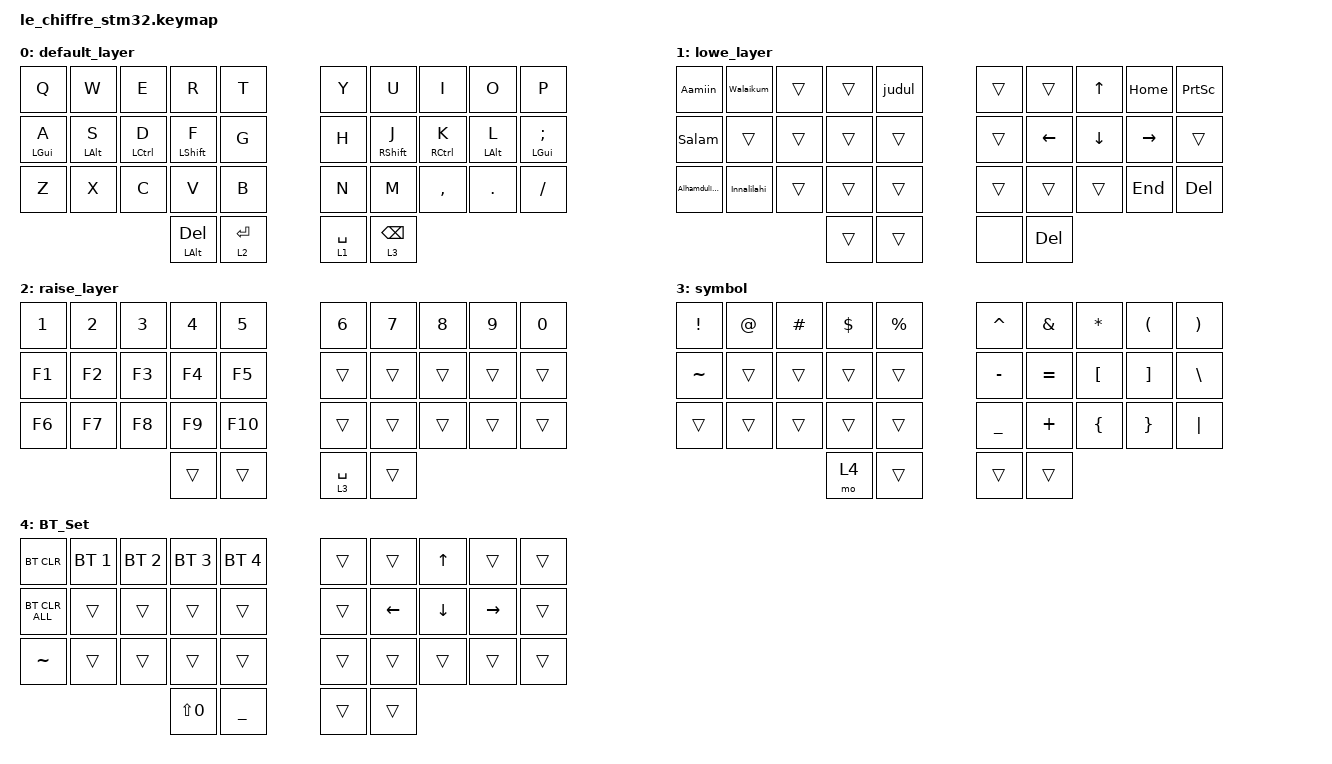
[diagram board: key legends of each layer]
/*
 * Copyright (c) 2020 The ZMK Contributors
 *
 * SPDX-License-Identifier: MIT
 */

#include <behaviors.dtsi>
#include <dt-bindings/zmk/bt.h>
#include <dt-bindings/zmk/keys.h>

#define NAV_L 1
#define OTHER_L 2
#define NUM_L 3
#define SYM_L 4

// Using layer taps on thumbs, having quick tap as well helps w/ repeating space/backspace

&lt { quick_tap_ms = <200>; };

/ {
    behaviors {
        hm: homerow_mods {
            compatible = "zmk,behavior-hold-tap";
            label = "homerow mods";
            #binding-cells = <2>;
            tapping_term_ms = <200>;
            flavor = "tap-preferred";
            bindings = <&kp>, <&kp>;
        };
    };

    combos {
        compatible = "zmk,combos";

        Tabs {
            bindings = <&kp TAB>;
            key-positions = <0 1>;
            layers = <0>;
            timeout-ms = <50>;
        };

        Caps {
            bindings = <&kp CAPSLOCK>;
            key-positions = <14 15>;
            layers = <0>;
            timeout-ms = <50>;
        };

        Esc {
            bindings = <&kp ESCAPE>;
            key-positions = <0 1 2>;
            layers = <0>;
            timeout-ms = <50>;
        };
    };

    macros {
        judul: judul {
            compatible = "zmk,behavior-macro";
            #binding-cells = <0>;
            bindings = <&kp B &kp U &kp A &kp T &kp SPACE &kp A &kp L &kp T &kp E &kp R &kp N &kp A &kp T &kp I &kp F &kp SPACE &kp J &kp U &kp D &kp U &kp L &kp SPACE &kp U &kp N &kp T &kp U &kp K &kp SPACE &kp T &kp U &kp L &kp I &kp S &kp A &kp N &kp SPACE &kp D &kp I &kp SPACE &kp A &kp T &kp A &kp S>;
            label = "JUDUL";
            wait-ms = <0>;
            tap-ms = <0>;
        };

        Salam: Salam {
            compatible = "zmk,behavior-macro";
            #binding-cells = <0>;
            bindings = <&kp LS(A) &kp S &kp S &kp A &kp L &kp A &kp M &kp U &kp A &kp L &kp A &kp I &kp K &kp U &kp M &kp SPACE &kp W &kp R &kp SPACE &kp W &kp B>;
            label = "SALAM";
            wait-ms = <0>;
            tap-ms = <0>;
        };

        Walaikum: Wasalam {
            compatible = "zmk,behavior-macro";
            #binding-cells = <0>;
            bindings = <&kp LS(W) &kp A &kp SQT &kp A &kp L &kp A &kp I &kp K &kp U &kp M &kp S &kp S &kp A &kp L &kp A &kp A &kp M>;
            label = "WASALAM";
            wait-ms = <0>;
            tap-ms = <0>;
        };

        Aamiin: Aamiin {
            compatible = "zmk,behavior-macro";
            #binding-cells = <0>;
            bindings = <&kp LS(A) &kp A &kp M &kp I &kp I &kp N &kp SPACE &kp LS(Y) &kp A &kp SPACE &kp LS(R) &kp O &kp B &kp B &kp A &kp L &kp SPACE &kp LS(A) &kp L &kp A &kp M &kp I &kp I &kp N>;
            label = "AAMIIN";
            wait-ms = <0>;
            tap-ms = <0>;
        };

        Alhamdulillah: Alhamdulillah {
            compatible = "zmk,behavior-macro";
            #binding-cells = <0>;
            bindings = <&none &kp LS(A) &kp L &kp H &kp A &kp M &kp D &kp U &kp L &kp I &kp L &kp L &kp A &kp H &kp I &kp SPACE &kp R &kp A &kp B &kp B &kp I &kp L &kp SPACE &kp SQT &kp A &kp L &kp M &kp I &kp I &kp N>;
            label = "ALHAMDULILLAH";
            wait-ms = <0>;
            tap-ms = <0>;
        };

        Innalilahi: Innalilahi {
            compatible = "zmk,behavior-macro";
            #binding-cells = <0>;
            bindings = <&kp LS(I) &kp N &kp N &kp A &kp L &kp I &kp L &kp L &kp A &kp H &kp I &kp SPACE &kp W &kp A &kp I &kp N &kp A &kp I &kp L &kp A &kp I &kp H &kp I &kp SPACE &kp R &kp O &kp J &kp I &kp U &kp N>;
            label = "INNALILAHI";
            wait-ms = <0>;
            tap-ms = <0>;
        };
    };

    keymap {
        compatible = "zmk,keymap";

        default_layer {
            bindings = <
&kp Q       &kp W       &kp E        &kp R             &kp T          &kp Y        &kp U            &kp I        &kp O       &kp P
&hm LGUI A  &hm LALT S  &hm LCTRL D  &hm LSHFT F       &kp G          &kp H        &hm RSHFT J      &hm RCTRL K  &hm LALT L  &hm LGUI SEMICOLON
&kp Z       &kp X       &kp C        &kp V             &kp B          &kp N        &kp M            &kp COMMA    &kp DOT     &kp FSLH
                                     &mt LEFT_ALT DEL  &lt 2 ENTER    &lt 1 SPACE  &lt 3 BACKSPACE
            >;
        };

        lowe_layer {
            bindings = <
&Aamiin         &Walaikum    &trans  &trans  &judul    &trans  &trans    &kp UP_ARROW  &kp HOME   &kp PRINTSCREEN
&Salam          &trans       &trans  &trans  &trans    &trans  &kp LEFT  &kp DOWN      &kp RIGHT  &trans
&Alhamdulillah  &Innalilahi  &trans  &trans  &trans    &trans  &trans    &trans        &kp END    &kp DEL
                                     &trans  &trans    &none   &kp DEL
            >;
        };

        raise_layer {
            bindings = <
&kp NUMBER_1  &kp NUMBER_2  &kp NUMBER_3  &kp NUMBER_4  &kp N5     &kp NUMBER_6  &kp NUMBER_7  &kp NUMBER_8  &kp NUMBER_9  &kp NUMBER_0
&kp F1        &kp F2        &kp F3        &kp F4        &kp F5     &trans        &trans        &trans        &trans        &trans
&kp F6        &kp F7        &kp F8        &kp F9        &kp F10    &trans        &trans        &trans        &trans        &trans
                                          &trans        &trans     &lt 3 SPACE   &trans
            >;
        };

        symbol {
            bindings = <
&kp EXCLAMATION  &kp AT_SIGN  &kp HASH  &kp DOLLAR  &kp PERCENT    &kp CARET       &kp AMPERSAND  &kp ASTERISK      &kp LEFT_PARENTHESIS  &kp RIGHT_PARENTHESIS
&kp TILDE        &trans       &trans    &trans      &trans         &kp MINUS       &kp EQUAL      &kp LEFT_BRACKET  &kp RIGHT_BRACKET     &kp BACKSLASH
&trans           &trans       &trans    &trans      &trans         &kp UNDERSCORE  &kp PLUS       &kp LEFT_BRACE    &kp RIGHT_BRACE       &kp PIPE
                                        &mo 4       &trans         &trans          &trans
            >;
        };

        BT_Set {
            bindings = <
&bt BT_CLR      &bt BT_SEL 1  &bt BT_SEL 2  &bt BT_SEL 3  &bt BT_SEL 4    &trans  &trans          &kp UP          &trans     &trans
&bt BT_CLR_ALL  &trans        &trans        &trans        &trans          &trans  &kp LEFT_ARROW  &kp DOWN_ARROW  &kp RIGHT  &trans
&kp TILDE       &trans        &trans        &trans        &trans          &trans  &trans          &trans          &trans     &trans
                                            &kp LS(N0)    &kp UNDER       &trans  &trans
            >;
        };
    };
};
